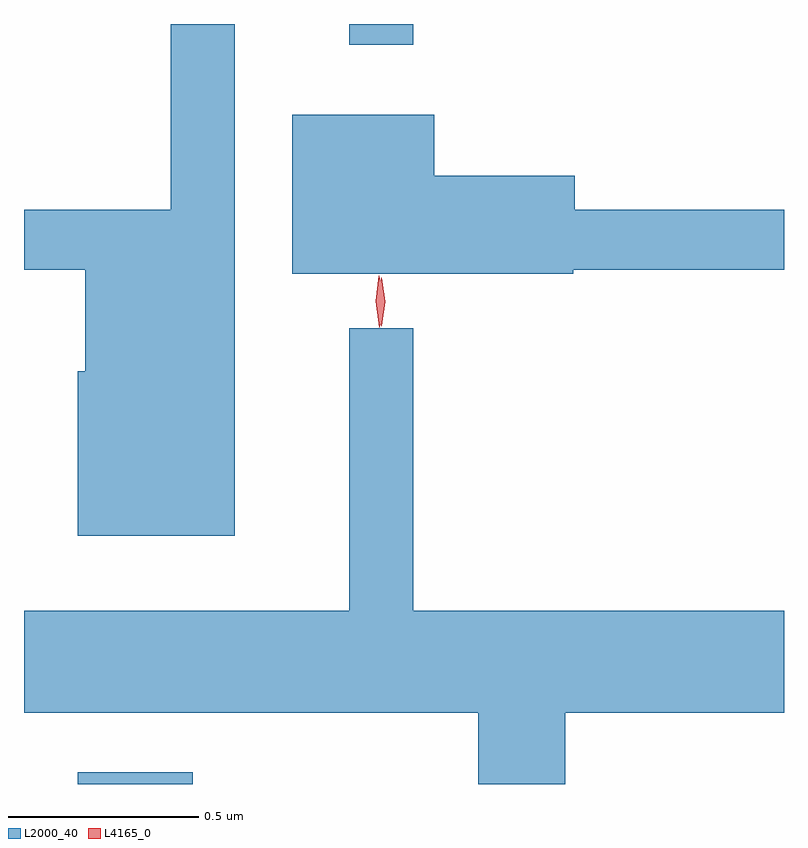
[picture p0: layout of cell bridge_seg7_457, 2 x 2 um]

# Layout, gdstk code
import gdstk
lib = gdstk.Library(unit=1e-6, precision=1e-09)
def R(c, l, rs):  # rectangles x0, y0, x1, y1
    for r in rs: c.add(gdstk.rectangle(r[:2], r[2:], *l))
def P(c, l, *ps):  # polygons
    for p in ps: c.add(gdstk.Polygon(p, *l))
L2000_40 = (2000, 40)
L4165_0 = (4165, 0)

bridge_seg7_457 = lib.new_cell('bridge_seg7_457')
R(bridge_seg7_457, L2000_40, [(1201.716,1709.688,1202.019,1709.719), (1202.431,1711.633,1202.599,1711.688)])
P(bridge_seg7_457, L2000_40, [(1202.129,1711.688),(1201.961,1711.688),(1201.961,1711.199),(1201.575,1711.199),(1201.575,1711.041),(1201.736,1711.041),(1201.736,1710.774),(1201.716,1710.774),(1201.716,1710.341),(1202.129,1710.341)],
  [(1203.02,1711.041),(1203.575,1711.041),(1203.575,1711.199),(1203.024,1711.199),(1203.024,1711.289),(1202.654,1711.289),(1202.654,1711.449),(1202.281,1711.449),(1202.281,1711.031),(1203.02,1711.031)],
  [(1202.599,1710.888),(1202.431,1710.888),(1202.431,1710.144),(1201.575,1710.144),(1201.575,1709.876),(1202.771,1709.876),(1202.771,1709.688),(1202.999,1709.688),(1202.999,1709.876),(1203.575,1709.876),(1203.575,1710.144),(1202.599,1710.144)])
P(bridge_seg7_457, L4165_0, [(1202.51,1710.89),(1202.5,1710.958),(1202.509,1711.025),(1202.51,1711.026),(1202.51,1711.025),(1202.52,1710.958),(1202.511,1710.89),(1202.511,1710.89)],
  [(1202.516,1710.893),(1202.515,1710.894),(1202.505,1710.956),(1202.515,1711.02),(1202.515,1711.02),(1202.516,1711.02),(1202.525,1710.957),(1202.516,1710.894)])

lib.write_gds('bridge_seg7_457.gds')
